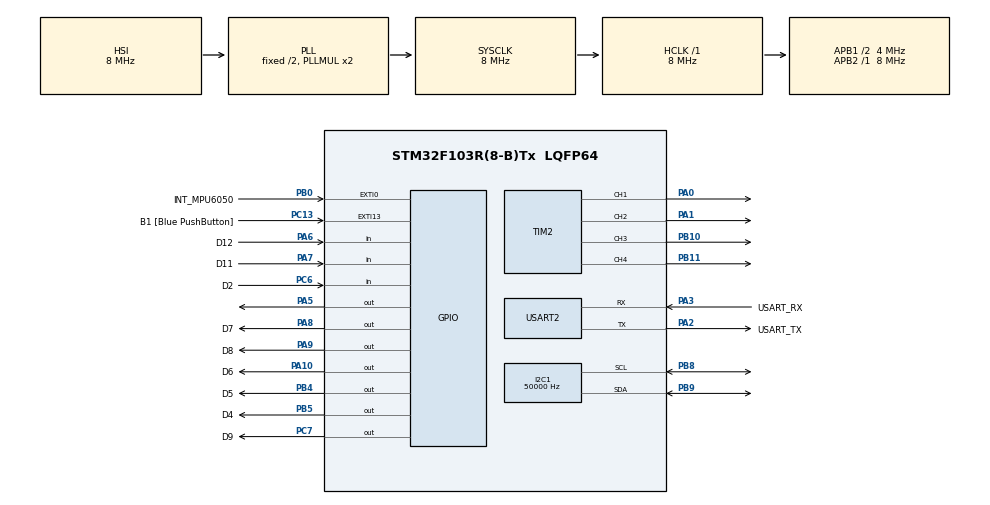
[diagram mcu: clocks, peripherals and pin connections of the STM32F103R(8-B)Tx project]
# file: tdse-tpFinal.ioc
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I2C1.ClockSpeed=50000
Mcu.Family=STM32F1
Mcu.Name=STM32F103R(8-B)Tx
Mcu.Package=LQFP64
NVIC.EXTI0_IRQn=true\:0\:0\:false\:false\:true\:true\:true\:true
NVIC.EXTI15_10_IRQn=true\:0\:0\:false\:false\:true\:true\:true\:true
NVIC.PriorityGroup=NVIC_PRIORITYGROUP_4
PA0-WKUP.Signal=S_TIM2_CH1_ETR
PA1.Signal=S_TIM2_CH2
PA10.GPIO_Label=D6
PA10.Signal=GPIO_Output
PA13.GPIO_Label=TMS
PA13.Mode=Serial_Wire
PA13.Signal=SYS_JTMS-SWDIO
PA14.GPIO_Label=TCK
PA14.Mode=Serial_Wire
PA14.Signal=SYS_JTCK-SWCLK
PA2.GPIO_Label=USART_TX
PA2.GPIO_Mode=GPIO_MODE_AF_PP
PA2.GPIO_PuPd=GPIO_NOPULL
PA2.GPIO_Speed=GPIO_SPEED_FREQ_LOW
PA2.Mode=Asynchronous
PA2.Signal=USART2_TX
PA3.GPIO_Label=USART_RX
PA3.GPIO_Mode=GPIO_MODE_AF_PP
PA3.GPIO_PuPd=GPIO_NOPULL
PA3.GPIO_Speed=GPIO_SPEED_FREQ_LOW
PA3.Mode=Asynchronous
PA3.Signal=USART2_RX
PA5.Signal=GPIO_Output
PA6.GPIO_Label=D12
PA6.GPIO_PuPd=GPIO_NOPULL
PA6.Signal=GPIO_Input
PA7.GPIO_Label=D11
PA7.GPIO_PuPd=GPIO_NOPULL
PA7.Signal=GPIO_Input
PA8.GPIO_Label=D7
PA8.GPIO_PuPd=GPIO_PULLUP
PA8.Signal=GPIO_Output
PA9.GPIO_Label=D8
PA9.GPIO_PuPd=GPIO_PULLUP
PA9.Signal=GPIO_Output
PB0.GPIO_Label=INT_MPU6050
PB0.Signal=GPXTI0
PB10.Signal=S_TIM2_CH3
PB11.Signal=S_TIM2_CH4
PB3.GPIO_Label=SWO
PB3.Signal=SYS_JTDO-TRACESWO
PB4.GPIO_Label=D5
PB4.GPIO_PuPd=GPIO_PULLUP
PB4.Signal=GPIO_Output
PB5.GPIO_Label=D4
PB5.Signal=GPIO_Output
PB8.Mode=I2C
PB8.Signal=I2C1_SCL
PB9.Mode=I2C
PB9.Signal=I2C1_SDA
PC13-TAMPER-RTC.GPIO_Label=B1 [Blue PushButton]
PC13-TAMPER-RTC.GPIO_PuPd=GPIO_NOPULL
PC13-TAMPER-RTC.Signal=GPXTI13
PC14-OSC32_IN.Mode=LSE-External-Oscillator
PC14-OSC32_IN.Signal=RCC_OSC32_IN
PC15-OSC32_OUT.Mode=LSE-External-Oscillator
PC15-OSC32_OUT.Signal=RCC_OSC32_OUT
PC6.GPIO_Label=D2
PC6.Signal=GPIO_Input
PC7.GPIO_Label=D9
PC7.GPIO_PuPd=GPIO_PULLUP
PC7.Signal=GPIO_Output
PD0-OSC_IN.Mode=HSE-External-Clock-Source
PD0-OSC_IN.Signal=RCC_OSC_IN
PD1-OSC_OUT.Mode=HSE-External-Clock-Source
PD1-OSC_OUT.Signal=RCC_OSC_OUT
ProjectManager.HeapSize=0x200
ProjectManager.StackSize=0x400
ProjectManager.TargetToolchain=STM32CubeIDE
RCC.AHBFreq_Value=8000000
RCC.APB1CLKDivider=RCC_HCLK_DIV2
RCC.APB1Freq_Value=4000000
RCC.APB1TimFreq_Value=8000000
RCC.APB2Freq_Value=8000000
RCC.APB2TimFreq_Value=8000000
RCC.HCLKFreq_Value=8000000
RCC.RTCClockSelection=RCC_RTCCLKSOURCE_LSE
RCC.SYSCLKFreq_VALUE=8000000
RCC.SYSCLKSource=RCC_SYSCLKSOURCE_PLLCLK
RCC.USBFreq_Value=8000000
SH.S_TIM2_CH1_ETR.0=TIM2_CH1,PWM Generation1 CH1
SH.S_TIM2_CH2.0=TIM2_CH2,PWM Generation2 CH2
SH.S_TIM2_CH3.0=TIM2_CH3,PWM Generation3 CH3
SH.S_TIM2_CH4.0=TIM2_CH4,PWM Generation4 CH4
TIM2.Channel-PWM\ Generation1\ CH1=TIM_CHANNEL_1
TIM2.Channel-PWM\ Generation2\ CH2=TIM_CHANNEL_2
TIM2.Channel-PWM\ Generation3\ CH3=TIM_CHANNEL_3
TIM2.Channel-PWM\ Generation4\ CH4=TIM_CHANNEL_4
USART2.VirtualMode=VM_ASYNC
board=NUCLEO-F103RB

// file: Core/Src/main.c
/* USER CODE BEGIN Header */
/**
  ******************************************************************************
  * @file           : main.c
  * @brief          : Main program body
  ******************************************************************************
  * @attention
  *
  * Copyright (c) 2025 STMicroelectronics.
  * All rights reserved.
  *
  * This software is licensed under terms that can be found in the LICENSE file
  * in the root directory of this software component.
  * If no LICENSE file comes with this software, it is provided AS-IS.
  *
  ******************************************************************************
  */
/* USER CODE END Header */
#include "main.h"

/* USER CODE BEGIN Includes */
#include "MPU6050.h"
#include "Interrupts.h"
#include "display.h"

/* Demo includes. */
#include "logger.h"
#include "dwt.h"

/* Application includes. */
#include "app.h"

/* USER CODE END Includes */

I2C_HandleTypeDef hi2c1;

TIM_HandleTypeDef htim2;

UART_HandleTypeDef huart2;

void SystemClock_Config(void);
static void MX_GPIO_Init(void);
static void MX_USART2_UART_Init(void);
static void MX_I2C1_Init(void);
static void MX_TIM2_Init(void);

/* USER CODE BEGIN 0 */
extern void initialise_monitor_handles(void);
extern I2C_HandleTypeDef hi2c1;

/* USER CODE END 0 */

int main(void)
{

  /* USER CODE BEGIN 1 */

	initialise_monitor_handles();

  /* USER CODE END 1 */

  /* MCU Configuration--------------------------------------------------------*/

  /* Reset of all peripherals, Initializes the Flash interface and the Systick. */
  HAL_Init();

  /* Configure the system clock */
  SystemClock_Config();

  /* Initialize all configured peripherals */
  MX_GPIO_Init();
  MX_USART2_UART_Init();
  MX_I2C1_Init();
  MX_TIM2_Init();
  /* USER CODE BEGIN 2 */

	/* Application Init */
  while(MPU6050_Init(&hi2c1, 0) != HAL_OK){
		displayInit( DISPLAY_CONNECTION_GPIO_4BITS );
		displayCharPositionWrite(0, 0);
		displayStringWrite("Error MPU6050");
		HAL_Delay(500);
  }

displayInit( DISPLAY_CONNECTION_GPIO_4BITS );
displayCharPositionWrite(0, 0);
displayStringWrite("MPU6050 OK");
  app_init();

  /* USER CODE END 2 */

  /* Infinite loop */
  while (1)
  {

    /* USER CODE BEGIN 3 */
	  //MPU6050_Process();

	  /* Application Update */
	  app_update();
  }
  /* USER CODE END 3 */
}

void SystemClock_Config(void)
{
  RCC_OscInitTypeDef RCC_OscInitStruct = {0};
  RCC_ClkInitTypeDef RCC_ClkInitStruct = {0};

  /** Initializes the RCC Oscillators according to the specified parameters
  * in the RCC_OscInitTypeDef structure.
  */
  RCC_OscInitStruct.OscillatorType = RCC_OSCILLATORTYPE_HSI;
  RCC_OscInitStruct.HSIState = RCC_HSI_ON;
  RCC_OscInitStruct.HSICalibrationValue = RCC_HSICALIBRATION_DEFAULT;
  RCC_OscInitStruct.PLL.PLLState = RCC_PLL_ON;
  RCC_OscInitStruct.PLL.PLLSource = RCC_PLLSOURCE_HSI_DIV2;
  RCC_OscInitStruct.PLL.PLLMUL = RCC_PLL_MUL2;
  if (HAL_RCC_OscConfig(&RCC_OscInitStruct) != HAL_OK)
  {
    Error_Handler();
  }

  /** Initializes the CPU, AHB and APB buses clocks
  */
  RCC_ClkInitStruct.ClockType = RCC_CLOCKTYPE_HCLK|RCC_CLOCKTYPE_SYSCLK
                              |RCC_CLOCKTYPE_PCLK1|RCC_CLOCKTYPE_PCLK2;
  RCC_ClkInitStruct.SYSCLKSource = RCC_SYSCLKSOURCE_PLLCLK;
  RCC_ClkInitStruct.AHBCLKDivider = RCC_SYSCLK_DIV1;
  RCC_ClkInitStruct.APB1CLKDivider = RCC_HCLK_DIV2;
  RCC_ClkInitStruct.APB2CLKDivider = RCC_HCLK_DIV1;

  if (HAL_RCC_ClockConfig(&RCC_ClkInitStruct, FLASH_LATENCY_0) != HAL_OK)
  {
    Error_Handler();
  }
}

static void MX_I2C1_Init(void)
{

  hi2c1.Instance = I2C1;
  hi2c1.Init.ClockSpeed = 50000;
  hi2c1.Init.DutyCycle = I2C_DUTYCYCLE_2;
  hi2c1.Init.OwnAddress1 = 0;
  hi2c1.Init.AddressingMode = I2C_ADDRESSINGMODE_7BIT;
  hi2c1.Init.DualAddressMode = I2C_DUALADDRESS_DISABLE;
  hi2c1.Init.OwnAddress2 = 0;
  hi2c1.Init.GeneralCallMode = I2C_GENERALCALL_DISABLE;
  hi2c1.Init.NoStretchMode = I2C_NOSTRETCH_DISABLE;
  if (HAL_I2C_Init(&hi2c1) != HAL_OK)
  {
    Error_Handler();
  }

}

static void MX_TIM2_Init(void)
{

  TIM_MasterConfigTypeDef sMasterConfig = {0};
  TIM_OC_InitTypeDef sConfigOC = {0};

  htim2.Instance = TIM2;
  htim2.Init.Prescaler = 0;
  htim2.Init.CounterMode = TIM_COUNTERMODE_UP;
  htim2.Init.Period = 65535;
  htim2.Init.ClockDivision = TIM_CLOCKDIVISION_DIV1;
  htim2.Init.AutoReloadPreload = TIM_AUTORELOAD_PRELOAD_DISABLE;
  if (HAL_TIM_PWM_Init(&htim2) != HAL_OK)
  {
    Error_Handler();
  }
  sMasterConfig.MasterOutputTrigger = TIM_TRGO_RESET;
  sMasterConfig.MasterSlaveMode = TIM_MASTERSLAVEMODE_DISABLE;
  if (HAL_TIMEx_MasterConfigSynchronization(&htim2, &sMasterConfig) != HAL_OK)
  {
    Error_Handler();
  }
  sConfigOC.OCMode = TIM_OCMODE_PWM1;
  sConfigOC.Pulse = 0;
  sConfigOC.OCPolarity = TIM_OCPOLARITY_HIGH;
  sConfigOC.OCFastMode = TIM_OCFAST_DISABLE;
  if (HAL_TIM_PWM_ConfigChannel(&htim2, &sConfigOC, TIM_CHANNEL_1) != HAL_OK)
  {
    Error_Handler();
  }
  if (HAL_TIM_PWM_ConfigChannel(&htim2, &sConfigOC, TIM_CHANNEL_2) != HAL_OK)
  {
    Error_Handler();
  }
  if (HAL_TIM_PWM_ConfigChannel(&htim2, &sConfigOC, TIM_CHANNEL_3) != HAL_OK)
  {
    Error_Handler();
  }
  if (HAL_TIM_PWM_ConfigChannel(&htim2, &sConfigOC, TIM_CHANNEL_4) != HAL_OK)
  {
    Error_Handler();
  }
  HAL_TIM_MspPostInit(&htim2);

}

static void MX_USART2_UART_Init(void)
{

  huart2.Instance = USART2;
  huart2.Init.BaudRate = 115200;
  huart2.Init.WordLength = UART_WORDLENGTH_8B;
  huart2.Init.StopBits = UART_STOPBITS_1;
  huart2.Init.Parity = UART_PARITY_NONE;
  huart2.Init.Mode = UART_MODE_TX_RX;
  huart2.Init.HwFlowCtl = UART_HWCONTROL_NONE;
  huart2.Init.OverSampling = UART_OVERSAMPLING_16;
  if (HAL_UART_Init(&huart2) != HAL_OK)
  {
    Error_Handler();
  }

}

static void MX_GPIO_Init(void)
{
  GPIO_InitTypeDef GPIO_InitStruct = {0};

  /* GPIO Ports Clock Enable */
  __HAL_RCC_GPIOC_CLK_ENABLE();
  __HAL_RCC_GPIOD_CLK_ENABLE();
  __HAL_RCC_GPIOA_CLK_ENABLE();
  __HAL_RCC_GPIOB_CLK_ENABLE();

  /*Configure GPIO pin Output Level */
  HAL_GPIO_WritePin(GPIOA, GPIO_PIN_5|D7_Pin|D8_Pin|D6_Pin, GPIO_PIN_RESET);

  /*Configure GPIO pin Output Level */
  HAL_GPIO_WritePin(D9_GPIO_Port, D9_Pin, GPIO_PIN_RESET);

  /*Configure GPIO pin Output Level */
  HAL_GPIO_WritePin(GPIOB, D5_Pin|D4_Pin, GPIO_PIN_RESET);

  /*Configure GPIO pin : B1_Pin */
  GPIO_InitStruct.Pin = B1_Pin;
  GPIO_InitStruct.Mode = GPIO_MODE_IT_RISING;
  GPIO_InitStruct.Pull = GPIO_NOPULL;
  HAL_GPIO_Init(B1_GPIO_Port, &GPIO_InitStruct);

  /*Configure GPIO pins : PA5 D6_Pin */
  GPIO_InitStruct.Pin = GPIO_PIN_5|D6_Pin;
  GPIO_InitStruct.Mode = GPIO_MODE_OUTPUT_PP;
  GPIO_InitStruct.Pull = GPIO_NOPULL;
  GPIO_InitStruct.Speed = GPIO_SPEED_FREQ_LOW;
  HAL_GPIO_Init(GPIOA, &GPIO_InitStruct);

  /*Configure GPIO pins : D12_Pin D11_Pin */
  GPIO_InitStruct.Pin = D12_Pin|D11_Pin;
  GPIO_InitStruct.Mode = GPIO_MODE_INPUT;
  GPIO_InitStruct.Pull = GPIO_NOPULL;
  HAL_GPIO_Init(GPIOA, &GPIO_InitStruct);

  /*Configure GPIO pin : INT_MPU6050_Pin */
  GPIO_InitStruct.Pin = INT_MPU6050_Pin;
  GPIO_InitStruct.Mode = GPIO_MODE_IT_RISING;
  GPIO_InitStruct.Pull = GPIO_NOPULL;
  HAL_GPIO_Init(INT_MPU6050_GPIO_Port, &GPIO_InitStruct);

  /*Configure GPIO pin : D2_Pin */
  GPIO_InitStruct.Pin = D2_Pin;
  GPIO_InitStruct.Mode = GPIO_MODE_INPUT;
  GPIO_InitStruct.Pull = GPIO_NOPULL;
  HAL_GPIO_Init(D2_GPIO_Port, &GPIO_InitStruct);

  /*Configure GPIO pin : D9_Pin */
  GPIO_InitStruct.Pin = D9_Pin;
  GPIO_InitStruct.Mode = GPIO_MODE_OUTPUT_PP;
  GPIO_InitStruct.Pull = GPIO_PULLUP;
  GPIO_InitStruct.Speed = GPIO_SPEED_FREQ_LOW;
  HAL_GPIO_Init(D9_GPIO_Port, &GPIO_InitStruct);

  /*Configure GPIO pins : D7_Pin D8_Pin */
  GPIO_InitStruct.Pin = D7_Pin|D8_Pin;
  GPIO_InitStruct.Mode = GPIO_MODE_OUTPUT_PP;
  GPIO_InitStruct.Pull = GPIO_PULLUP;
  GPIO_InitStruct.Speed = GPIO_SPEED_FREQ_LOW;
  HAL_GPIO_Init(GPIOA, &GPIO_InitStruct);

  /*Configure GPIO pin : D5_Pin */
  GPIO_InitStruct.Pin = D5_Pin;
  GPIO_InitStruct.Mode = GPIO_MODE_OUTPUT_PP;
  GPIO_InitStruct.Pull = GPIO_PULLUP;
  GPIO_InitStruct.Speed = GPIO_SPEED_FREQ_LOW;
  HAL_GPIO_Init(D5_GPIO_Port, &GPIO_InitStruct);

  /*Configure GPIO pin : D4_Pin */
  GPIO_InitStruct.Pin = D4_Pin;
  GPIO_InitStruct.Mode = GPIO_MODE_OUTPUT_PP;
  GPIO_InitStruct.Pull = GPIO_NOPULL;
  GPIO_InitStruct.Speed = GPIO_SPEED_FREQ_LOW;
  HAL_GPIO_Init(D4_GPIO_Port, &GPIO_InitStruct);

  /* EXTI interrupt init*/
  HAL_NVIC_SetPriority(EXTI0_IRQn, 0, 0);
  HAL_NVIC_EnableIRQ(EXTI0_IRQn);

  HAL_NVIC_SetPriority(EXTI15_10_IRQn, 0, 0);
  HAL_NVIC_EnableIRQ(EXTI15_10_IRQn);

}

void Error_Handler(void)
{
  __disable_irq();
  while (1)
  {
  }
}
